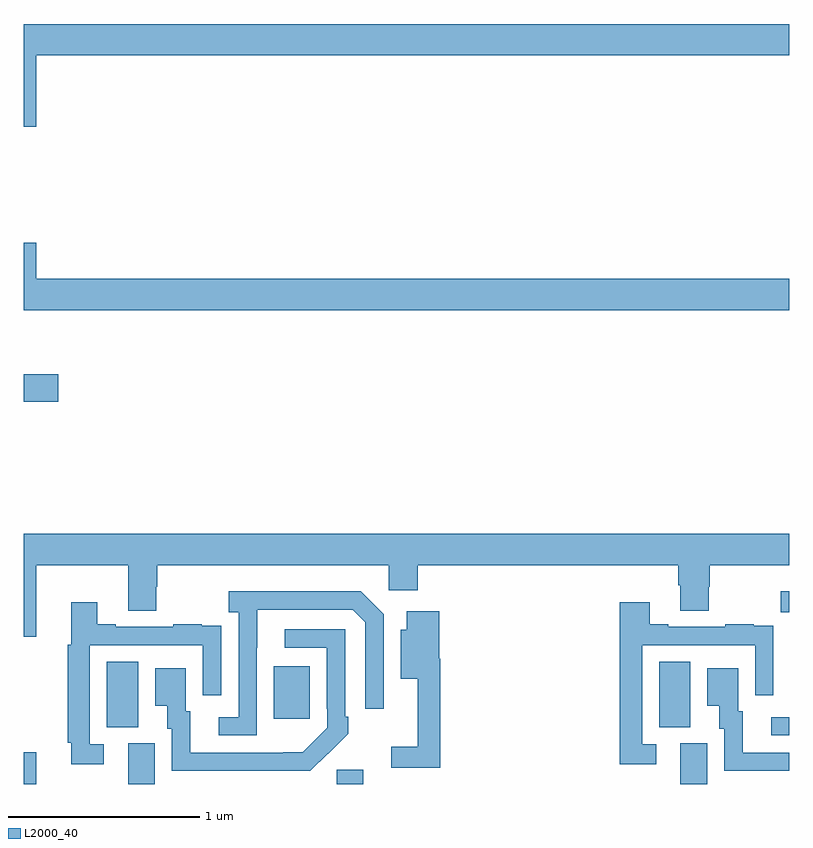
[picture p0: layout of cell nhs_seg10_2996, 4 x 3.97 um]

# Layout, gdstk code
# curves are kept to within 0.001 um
import gdstk
lib = gdstk.Library(unit=1e-6, precision=1e-09)
def R(c, l, rs):  # rectangles x0, y0, x1, y1
    for r in rs: c.add(gdstk.rectangle(r[:2], r[2:], *l))
def P(c, l, *ps):  # polygons
    for p in ps: c.add(gdstk.Polygon(p, *l))
L2000_40 = (2000, 40)

nhs_seg10_2996 = lib.new_cell('nhs_seg10_2996')
R(nhs_seg10_2996, L2000_40, [(273,1304.5,273.064,1304.665), (273.545,1304.5,273.685,1304.712), (274.635,1304.5,274.774,1304.574), (276.431,1304.5,276.571,1304.712), (276.906,1304.754,277,1304.85), (273.434,1304.797,273.598,1305.14), (276.32,1304.797,276.484,1305.14), (274.307,1304.841,274.495,1305.115), (276.957,1305.398,277,1305.508), (273,1306.499,273.181,1306.641)])
P(nhs_seg10_2996, L2000_40, [(273.064,1308.308),(277,1308.308),(277,1308.472),(273,1308.472),(273,1307.934),(273.064,1307.934)],
  [(277,1307.14),(273.064,1307.14),(273.064,1307.329),(273,1307.329),(273,1306.976),(277,1306.976)],
  [(273.064,1305.644),(273.545,1305.644),(273.545,1305.406),(273.693,1305.406),(273.693,1305.531),(273.698,1305.531),(273.698,1305.644),(274.908,1305.644),(274.908,1305.513),(275.06,1305.513),(275.06,1305.644),(276.419,1305.644),(276.419,1305.538),(276.431,1305.538),(276.431,1305.406),(276.579,1305.406),(276.579,1305.531),(276.584,1305.531),(276.584,1305.644),(277,1305.644),(277,1305.808),(273,1305.808),(273,1305.27),(273.064,1305.27)],
  [(274.218,1305.211),(274.219,1305.411),(274.719,1305.411),(274.785,1305.345),(274.785,1304.892),(274.881,1304.892),(274.881,1305.387),(274.76,1305.508),(274.071,1305.508),(274.071,1305.398),(274.122,1305.398),(274.122,1304.85),(274.02,1304.85),(274.02,1304.754),(274.218,1304.754)],
  [(273.418,1304.709),(273.345,1304.709),(273.345,1305.225),(273.936,1305.225),(273.936,1304.964),(274.032,1304.964),(274.032,1305.218),(274.031,1305.218),(274.031,1305.327),(273.929,1305.327),(273.929,1305.334),(273.781,1305.334),(273.781,1305.321),(273.481,1305.321),(273.481,1305.334),(273.385,1305.334),(273.385,1305.451),(273.248,1305.451),(273.248,1305.228),(273.229,1305.228),(273.229,1304.716),(273.248,1304.716),(273.248,1304.604),(273.418,1304.604)],
  [(276.304,1304.709),(276.231,1304.709),(276.231,1305.225),(276.822,1305.225),(276.822,1304.964),(276.918,1304.964),(276.918,1305.218),(276.917,1305.218),(276.917,1305.327),(276.815,1305.327),(276.815,1305.334),(276.667,1305.334),(276.667,1305.321),(276.367,1305.321),(276.367,1305.334),(276.271,1305.334),(276.271,1305.451),(276.115,1305.451),(276.115,1304.604),(276.304,1304.604)],
  [(275.177,1305.154),(275.171,1305.154),(275.171,1305.403),(275,1305.403),(275,1305.307),(274.97,1305.307),(274.97,1305.05),(275.06,1305.05),(275.06,1304.695),(274.92,1304.695),(274.92,1304.586),(275.177,1304.586)],
  [(274.589,1304.659),(274.59,1304.658),(274.695,1304.763),(274.695,1304.851),(274.68,1304.851),(274.68,1305.309),(274.365,1305.309),(274.365,1305.213),(274.584,1305.213),(274.584,1304.893),(274.587,1304.893),(274.587,1304.793),(274.459,1304.665),(273.871,1304.664),(273.871,1304.88),(273.847,1304.88),(273.847,1305.106),(273.686,1305.106),(273.686,1304.909),(273.749,1304.909),(273.749,1304.79),(273.774,1304.79),(273.774,1304.568),(274.498,1304.568)],
  [(277,1304.664),(276.757,1304.664),(276.757,1304.88),(276.733,1304.88),(276.733,1305.106),(276.572,1305.106),(276.572,1304.909),(276.635,1304.909),(276.635,1304.79),(276.66,1304.79),(276.66,1304.568),(277,1304.568)])

lib.write_gds('nhs_seg10_2996.gds')
